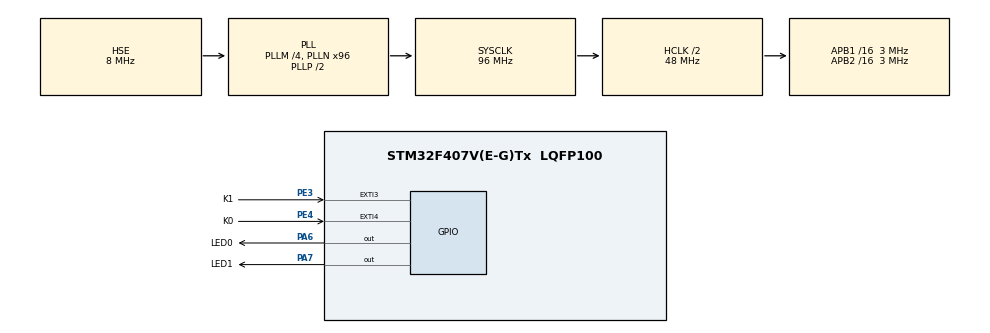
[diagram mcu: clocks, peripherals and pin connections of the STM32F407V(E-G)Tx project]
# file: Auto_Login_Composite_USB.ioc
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Mcu.Family=STM32F4
PE3.GPIO_ModeDefaultEXTI=GPIO_MODE_IT_RISING_FALLING
RCC.PLLSourceVirtual=RCC_PLLSOURCE_HSE
NVIC.EXTI4_IRQn=true\:0\:0\:true\:true\:true\:2\:true\:true
PH0-OSC_IN.Signal=RCC_OSC_IN
RCC.CortexFreq_Value=48000000
TIM1.RepetitionCounter=1
PE4.GPIO_ModeDefaultEXTI=GPIO_MODE_IT_RISING_FALLING
NVIC.EXTI3_IRQn=true\:0\:0\:true\:true\:true\:1\:true\:true
PA7.GPIO_ModeDefaultOutputPP=GPIO_MODE_OUTPUT_OD
PA6.GPIO_Label=LED0
RCC.APB1CLKDivider=RCC_HCLK_DIV16
RCC.SYSCLKSource=RCC_SYSCLKSOURCE_PLLCLK
ProjectManager.StackSize=0x400
PA13.Signal=SYS_JTMS-SWDIO
TIM1.Prescaler=59999
ProjectManager.TargetToolchain=STM32CubeIDE
RCC.HCLKFreq_Value=48000000
RCC.APB2TimFreq_Value=6000000
RCC.LSE_VALUE=32768
PA7.GPIO_PuPd=GPIO_PULLUP
RCC.AHBFreq_Value=48000000
PH0-OSC_IN.Mode=HSE-External-Oscillator
RCC.HSE_VALUE=8000000
board=custom
RCC.VCOOutputFreq_Value=192000000
RCC.APB2Freq_Value=3000000
PA6.GPIO_PuPd=GPIO_PULLUP
PA14.Mode=Serial_Wire
PE4.GPIO_Label=K0
PE3.GPIO_PuPd=GPIO_PULLUP
PH1-OSC_OUT.Signal=RCC_OSC_OUT
RCC.AHBCLKDivider=RCC_SYSCLK_DIV2
PA13.Mode=Serial_Wire
PE4.Signal=GPXTI4
Mcu.Name=STM32F407V(E-G)Tx
VP_TIM1_VS_ClockSourceINT.Mode=Internal
PE4.GPIO_PuPd=GPIO_PULLUP
PH1-OSC_OUT.Mode=HSE-External-Oscillator
RCC.48MHZClocksFreq_Value=48000000
RCC.SYSCLKFreq_VALUE=96000000
Mcu.Package=LQFP100
PA6.Signal=GPIO_Output
PA7.GPIO_Label=LED1
PA14.Signal=SYS_JTCK-SWCLK
ProjectManager.HeapSize=0x200
NVIC.TIM1_UP_TIM10_IRQn=true\:0\:0\:false\:false\:true\:true\:true
RCC.HSI_VALUE=16000000
PA6.GPIO_ModeDefaultOutputPP=GPIO_MODE_OUTPUT_OD
NVIC.PriorityGroup=NVIC_PRIORITYGROUP_4
RCC.APB2CLKDivider=RCC_HCLK_DIV16
RCC.PLLM=4
RCC.PLLN=96
RCC.APB1TimFreq_Value=6000000
PE3.Signal=GPXTI3
PE3.GPIO_Label=K1
TIM1.Period=149
RCC.APB1Freq_Value=3000000
PA7.Signal=GPIO_Output

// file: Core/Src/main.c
/* USER CODE BEGIN Header */
/**
  ******************************************************************************
  * @file           : main.c
  * @brief          : Main program body
  ******************************************************************************
  * @attention
  *
  * <h2><center>&copy; Copyright (c) 2021 STMicroelectronics.
  * All rights reserved.</center></h2>
  *
  * This software component is licensed by ST under BSD 3-Clause license,
  * the "License"; You may not use this file except in compliance with the
  * License. You may obtain a copy of the License at:
  *                        opensource.org/licenses/BSD-3-Clause
  *
  ******************************************************************************
  */
/* USER CODE END Header */
#include "main.h"

/* USER CODE BEGIN Includes */

#include "usb_device.h"
#include "usbd_cdc.h"
#include "keyboard_if.h"
#include "logins.h"
#include "keypress.h"

/* USER CODE END Includes */

TIM_HandleTypeDef htim1;

/* USER CODE BEGIN PV */

ProgramStateTypeDef program_state;
DeviceStateTypeDef device_state;
TypeStateTypeDef type_state = TYPE_WAIT;

uint8_t tx_buffer[TX_BYTE_LEN * LOGINS];
uint8_t rx_buffer[RX_BYTE_LEN];

uint8_t login_n = 0;

/* USER CODE END PV */

void SystemClock_Config(void);
static void MX_GPIO_Init(void);
static void MX_TIM1_Init(void);
static void MX_NVIC_Init(void);
/* USER CODE BEGIN PFP */

extern void console_send(uint8_t *pbuf, uint16_t length);
extern int _read(int32_t file, uint8_t *ptr, int32_t len);
extern int _write(int32_t file, uint8_t *ptr, int32_t len);
extern void console_flush();
extern uint8_t read_ready();
extern void type_login(uint8_t n);

void set_device_state(DeviceStateTypeDef state);

/* USER CODE END PFP */

int main(void)
{

  /* MCU Configuration--------------------------------------------------------*/

  /* Reset of all peripherals, Initializes the Flash interface and the Systick. */
  HAL_Init();

  /* Configure the system clock */
  SystemClock_Config();

  /* Initialize all configured peripherals */
  MX_GPIO_Init();
  MX_TIM1_Init();

  /* Initialize interrupts */
  MX_NVIC_Init();
  /* USER CODE BEGIN 2 */

  set_device_state(OUTPUT);

  Logins_Init();
  Get_Logins();
  /* USER CODE END 2 */

  /* Infinite loop */
  /* USER CODE BEGIN WHILE */
  while (1)
  {
	if(device_state == PROGRAM){
		//Init Program Stage
		HAL_USBD_Setup();
		UsbDevice_Init(device_state);

		while(device_state == PROGRAM){
			if(read_ready()){
				//Insert logic here
				_read(0, &rx_buffer, RX_BYTE_LEN);
				if(rx_buffer[0] == 255 && rx_buffer[1] == 0 && rx_buffer[2] == 0){
					program_state = READ;
					Get_Logins();
					Set_Output_Buffer(&tx_buffer);
					_write(0, &tx_buffer, TX_BYTE_LEN * LOGINS);
					program_state = PROGRAM_WAIT;
				}
				else if(rx_buffer[0] == 0 && rx_buffer[1] == 255 && rx_buffer[2] == 0){
					program_state = WRITE;
					Set_Login(&rx_buffer);
					program_state = PROGRAM_WAIT;
				}
				else if(rx_buffer[0] == 0 && rx_buffer[1] == 0 && rx_buffer[2] == 255){
					program_state = WRITE_TO_MEM;
					Set_Logins();
					program_state = PROGRAM_WAIT;
				}
			}
		}
	}

	else if(device_state == OUTPUT){
		//Init Output Stage
		HAL_USBD_Setup();
		UsbDevice_Init(device_state);

		while(device_state == OUTPUT){
			if(type_state == SEND){
				type_login(login_n);
				type_state = TYPE_WAIT;
			}
		}
	}

    /* USER CODE END WHILE */

  }
}

void SystemClock_Config(void)
{
  RCC_OscInitTypeDef RCC_OscInitStruct = {0};
  RCC_ClkInitTypeDef RCC_ClkInitStruct = {0};

  /** Configure the main internal regulator output voltage
  */
  __HAL_RCC_PWR_CLK_ENABLE();
  __HAL_PWR_VOLTAGESCALING_CONFIG(PWR_REGULATOR_VOLTAGE_SCALE1);
  /** Initializes the RCC Oscillators according to the specified parameters
  * in the RCC_OscInitTypeDef structure.
  */
  RCC_OscInitStruct.OscillatorType = RCC_OSCILLATORTYPE_HSE;
  RCC_OscInitStruct.HSEState = RCC_HSE_ON;
  RCC_OscInitStruct.PLL.PLLState = RCC_PLL_ON;
  RCC_OscInitStruct.PLL.PLLSource = RCC_PLLSOURCE_HSE;
  RCC_OscInitStruct.PLL.PLLM = 4;
  RCC_OscInitStruct.PLL.PLLN = 96;
  RCC_OscInitStruct.PLL.PLLP = RCC_PLLP_DIV2;
  RCC_OscInitStruct.PLL.PLLQ = 4;
  if (HAL_RCC_OscConfig(&RCC_OscInitStruct) != HAL_OK)
  {
    Error_Handler();
  }
  /** Initializes the CPU, AHB and APB buses clocks
  */
  RCC_ClkInitStruct.ClockType = RCC_CLOCKTYPE_HCLK|RCC_CLOCKTYPE_SYSCLK
                              |RCC_CLOCKTYPE_PCLK1|RCC_CLOCKTYPE_PCLK2;
  RCC_ClkInitStruct.SYSCLKSource = RCC_SYSCLKSOURCE_PLLCLK;
  RCC_ClkInitStruct.AHBCLKDivider = RCC_SYSCLK_DIV2;
  RCC_ClkInitStruct.APB1CLKDivider = RCC_HCLK_DIV16;
  RCC_ClkInitStruct.APB2CLKDivider = RCC_HCLK_DIV16;

  if (HAL_RCC_ClockConfig(&RCC_ClkInitStruct, FLASH_LATENCY_1) != HAL_OK)
  {
    Error_Handler();
  }
}

/**
  * @brief NVIC Configuration.
  * @retval None
  */
static void MX_NVIC_Init(void)
{
  /* EXTI3_IRQn interrupt configuration */
  HAL_NVIC_SetPriority(EXTI3_IRQn, 0, 0);
  HAL_NVIC_EnableIRQ(EXTI3_IRQn);
  /* EXTI4_IRQn interrupt configuration */
  HAL_NVIC_SetPriority(EXTI4_IRQn, 0, 0);
  HAL_NVIC_EnableIRQ(EXTI4_IRQn);
}

static void MX_TIM1_Init(void)
{

  TIM_ClockConfigTypeDef sClockSourceConfig = {0};
  TIM_MasterConfigTypeDef sMasterConfig = {0};

  htim1.Instance = TIM1;
  htim1.Init.Prescaler = 59999;
  htim1.Init.CounterMode = TIM_COUNTERMODE_UP;
  htim1.Init.Period = 149;
  htim1.Init.ClockDivision = TIM_CLOCKDIVISION_DIV1;
  htim1.Init.RepetitionCounter = 1;
  htim1.Init.AutoReloadPreload = TIM_AUTORELOAD_PRELOAD_DISABLE;
  if (HAL_TIM_Base_Init(&htim1) != HAL_OK)
  {
    Error_Handler();
  }
  sClockSourceConfig.ClockSource = TIM_CLOCKSOURCE_INTERNAL;
  if (HAL_TIM_ConfigClockSource(&htim1, &sClockSourceConfig) != HAL_OK)
  {
    Error_Handler();
  }
  sMasterConfig.MasterOutputTrigger = TIM_TRGO_RESET;
  sMasterConfig.MasterSlaveMode = TIM_MASTERSLAVEMODE_DISABLE;
  if (HAL_TIMEx_MasterConfigSynchronization(&htim1, &sMasterConfig) != HAL_OK)
  {
    Error_Handler();
  }

}

static void MX_GPIO_Init(void)
{
  GPIO_InitTypeDef GPIO_InitStruct = {0};

  /* GPIO Ports Clock Enable */
  __HAL_RCC_GPIOE_CLK_ENABLE();
  __HAL_RCC_GPIOH_CLK_ENABLE();
  __HAL_RCC_GPIOA_CLK_ENABLE();

  /*Configure GPIO pin Output Level */
  HAL_GPIO_WritePin(GPIOA, LED0_Pin|LED1_Pin, GPIO_PIN_RESET);

  /*Configure GPIO pins : K1_Pin K0_Pin */
  GPIO_InitStruct.Pin = K1_Pin|K0_Pin;
  GPIO_InitStruct.Mode = GPIO_MODE_IT_RISING_FALLING;
  GPIO_InitStruct.Pull = GPIO_PULLUP;
  HAL_GPIO_Init(GPIOE, &GPIO_InitStruct);

  /*Configure GPIO pins : LED0_Pin LED1_Pin */
  GPIO_InitStruct.Pin = LED0_Pin|LED1_Pin;
  GPIO_InitStruct.Mode = GPIO_MODE_OUTPUT_OD;
  GPIO_InitStruct.Pull = GPIO_PULLUP;
  GPIO_InitStruct.Speed = GPIO_SPEED_FREQ_LOW;
  HAL_GPIO_Init(GPIOA, &GPIO_InitStruct);

}

/* USER CODE BEGIN 4 */
void HAL_GPIO_EXTI_Callback(uint16_t GPIO_Pin){
	if(GPIO_Pin == K1_Pin){
		if(device_state == OUTPUT){
			if(HAL_GPIO_ReadPin(K1_GPIO_Port, K1_Pin) == GPIO_PIN_RESET){
				type_state = SEND;
			}
		}
		else if(device_state == PROGRAM){
			//Do nothing...
		}
	}
	else if (GPIO_Pin == K0_Pin){
		if(HAL_GPIO_ReadPin(K0_GPIO_Port, K0_Pin) == GPIO_PIN_RESET){
			__HAL_TIM_SET_COUNTER(&htim1, 0);
			__HAL_TIM_CLEAR_IT(&htim1, TIM_IT_UPDATE);
			HAL_TIM_Base_Start_IT(&htim1);
		}
		else{
			HAL_TIM_Base_Stop_IT(&htim1);
			if(device_state == OUTPUT){
				//If timer was less than 3 seconds
				if(__HAL_TIM_GET_COUNTER(&htim1) < 149 && __HAL_TIM_GET_COUNTER(&htim1) > 25){
					if(login_n == LOGINS - 1){
						login_n = 0;
					}
					else
						login_n += 1;
				}
			}
		}
	}
}

void HAL_TIM_PeriodElapsedCallback(TIM_HandleTypeDef *htim){
	HAL_TIM_Base_Stop_IT(&htim1);
	__HAL_TIM_SET_COUNTER(&htim1, 149);
	if(device_state == OUTPUT){
		set_device_state(PROGRAM);
	}
	else if(device_state == PROGRAM){
		set_device_state(OUTPUT);
	}
}

void set_device_state(DeviceStateTypeDef state){
	if(state == OUTPUT){
		HAL_GPIO_WritePin(LED0_GPIO_Port, LED0_Pin, GPIO_PIN_SET);
		HAL_GPIO_WritePin(LED1_GPIO_Port, LED1_Pin, GPIO_PIN_RESET);
	}
	else{
		HAL_GPIO_WritePin(LED0_GPIO_Port, LED0_Pin, GPIO_PIN_RESET);
		HAL_GPIO_WritePin(LED1_GPIO_Port, LED1_Pin, GPIO_PIN_SET);
	}
	device_state = state;
}
/* USER CODE END 4 */

void Error_Handler(void)
{
  __disable_irq();
  while (1)
  {
  }
}

/************************ (C) COPYRIGHT STMicroelectronics *****END OF FILE****/
